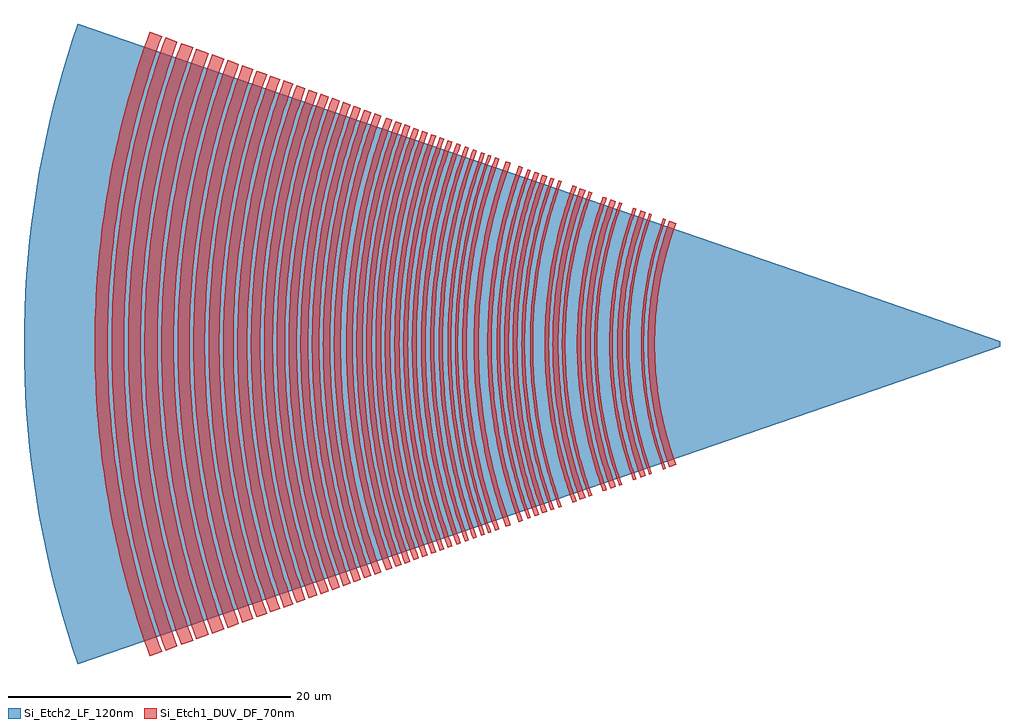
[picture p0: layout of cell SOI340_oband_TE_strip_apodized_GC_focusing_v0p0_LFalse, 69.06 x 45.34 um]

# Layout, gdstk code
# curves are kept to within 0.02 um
import gdstk
lib = gdstk.Library(unit=1e-6, precision=1e-09)
def P(c, l, *ps):  # polygons
    for p in ps: c.add(gdstk.Polygon(p, *l))
Si_Etch2_LF_120nm = (3, 0)
Si_Etch1_DUV_DF_70nm = (6, 0)

soi340_oband_te_strip_ap = lib.new_cell('SOI340_oband_TE_strip_apodized_GC_focusing_v0p0_LFalse')
P(soi340_oband_te_strip_ap, Si_Etch2_LF_120nm, [(-65.264,-22.672),(-66.015,-20.36),(-66.685,-18.024),(-66.989,-16.847),(-67.273,-15.665),(-67.779,-13.288),(-68.201,-10.894),(-68.539,-8.487),(-68.793,-6.069),(-68.963,-3.645),(-69.016,-2.43),(-69.058,0),(-69.016,2.43),(-68.963,3.645),(-68.793,6.069),(-68.539,8.487),(-68.201,10.894),(-67.779,13.288),(-67.273,15.665),(-66.989,16.847),(-66.36,19.195),(-65.65,21.52),(-65.264,22.672),(0,0.2),(0,-0.2)])
P(soi340_oband_te_strip_ap, Si_Etch1_DUV_DF_70nm, [(-23.389,-8.723),(-23.746,-7.672),(-24.058,-6.602),(-24.322,-5.522),(-24.539,-4.429),(-24.709,-3.329),(-24.83,-2.223),(-24.903,-1.112),(-24.927,0),(-24.903,1.112),(-24.83,2.223),(-24.709,3.329),(-24.539,4.429),(-24.322,5.522),(-24.058,6.602),(-23.746,7.672),(-23.389,8.723),(-22.911,8.551),(-23.262,7.518),(-23.567,6.47),(-23.826,5.411),(-24.039,4.341),(-24.205,3.263),(-24.324,2.179),(-24.395,1.09),(-24.419,0),(-24.395,-1.09),(-24.324,-2.179),(-24.205,-3.263),(-24.039,-4.341),(-23.826,-5.411),(-23.567,-6.47),(-23.262,-7.518),(-22.911,-8.551)],
  [(-23.831,-8.884),(-24.196,-7.812),(-24.513,-6.724),(-24.782,-5.624),(-25.003,-4.511),(-25.205,-3.166),(-25.299,-2.265),(-25.373,-1.132),(-25.398,0),(-25.373,1.132),(-25.299,2.265),(-25.205,3.166),(-25.003,4.511),(-24.782,5.624),(-24.513,6.724),(-24.196,7.812),(-23.831,8.884),(-23.643,8.817),(-24.072,7.537),(-24.377,6.455),(-24.635,5.36),(-24.881,4.033),(-25.119,2.023),(-25.198,0),(-25.119,-2.023),(-24.881,-4.033),(-24.635,-5.36),(-24.377,-6.455),(-24.072,-7.537),(-23.643,-8.817)],
  [(-24.814,-9.242),(-25.193,-8.126),(-25.523,-6.995),(-25.803,-5.85),(-26.033,-4.693),(-26.213,-3.527),(-26.341,-2.355),(-26.418,-1.179),(-26.444,0),(-26.418,1.179),(-26.341,2.355),(-26.213,3.527),(-26.033,4.693),(-25.803,5.85),(-25.523,6.995),(-25.193,8.126),(-24.814,9.242),(-24.626,9.175),(-25.072,7.843),(-25.39,6.716),(-25.658,5.577),(-25.914,4.196),(-26.072,3.037),(-26.161,2.105),(-26.228,0.936),(-26.244,0),(-26.228,-0.936),(-26.161,-2.105),(-26.072,-3.037),(-25.914,-4.196),(-25.658,-5.577),(-25.39,-6.716),(-25.072,-7.843),(-24.626,-9.175)],
  [(-25.418,-9.46),(-25.806,-8.319),(-26.144,-7.161),(-26.43,-5.988),(-26.666,-4.805),(-26.85,-3.611),(-27.001,-2.171),(-27.06,-1.206),(-27.086,0),(-27.06,1.206),(-27.001,2.171),(-26.85,3.611),(-26.666,4.805),(-26.43,5.988),(-26.144,7.161),(-25.806,8.319),(-25.418,9.46),(-25.051,9.329),(-25.434,8.202),(-25.767,7.06),(-26.049,5.904),(-26.282,4.737),(-26.463,3.56),(-26.592,2.377),(-26.67,1.19),(-26.696,0),(-26.67,-1.19),(-26.592,-2.377),(-26.463,-3.56),(-26.282,-4.737),(-26.049,-5.904),(-25.767,-7.06),(-25.434,-8.202),(-25.051,-9.329)],
  [(-25.945,-9.654),(-26.414,-8.254),(-26.685,-7.305),(-26.978,-6.109),(-27.218,-4.902),(-27.406,-3.684),(-27.539,-2.461),(-27.62,-1.231),(-27.647,0),(-27.62,1.231),(-27.539,2.461),(-27.406,3.684),(-27.218,4.902),(-26.978,6.109),(-26.685,7.305),(-26.414,8.254),(-25.945,9.654),(-25.725,9.575),(-26.19,8.185),(-26.521,7.009),(-26.851,5.581),(-27.106,4.138),(-27.327,2.196),(-27.396,0.977),(-27.413,0),(-27.396,-0.977),(-27.327,-2.196),(-27.106,-4.138),(-26.851,-5.581),(-26.521,-7.009),(-26.19,-8.185),(-25.725,-9.575)],
  [(-26.939,-10.014),(-27.425,-8.563),(-27.706,-7.579),(-28.01,-6.338),(-28.259,-5.085),(-28.453,-3.823),(-28.592,-2.552),(-28.676,-1.277),(-28.704,0),(-28.676,1.277),(-28.592,2.552),(-28.453,3.823),(-28.259,5.085),(-28.01,6.338),(-27.706,7.579),(-27.425,8.563),(-26.939,10.014),(-26.738,9.943),(-27.221,8.5),(-27.565,7.279),(-27.907,5.796),(-28.172,4.297),(-28.332,3.039),(-28.42,2.028),(-28.491,0),(-28.42,-2.028),(-28.332,-3.039),(-28.172,-4.297),(-27.907,-5.796),(-27.565,-7.279),(-27.221,-8.5),(-26.738,-9.943)],
  [(-27.558,-10.24),(-27.977,-9.005),(-28.342,-7.749),(-28.653,-6.481),(-28.908,-5.2),(-29.107,-3.909),(-29.249,-2.609),(-29.335,-1.305),(-29.363,0),(-29.335,1.305),(-29.249,2.609),(-29.107,3.909),(-28.908,5.2),(-28.653,6.481),(-28.342,7.749),(-27.977,9.005),(-27.558,10.24),(-27.177,10.103),(-27.591,8.883),(-27.951,7.645),(-28.258,6.393),(-28.509,5.129),(-28.705,3.856),(-28.846,2.574),(-28.93,1.288),(-28.958,0),(-28.93,-1.288),(-28.846,-2.574),(-28.705,-3.856),(-28.509,-5.129),(-28.258,-6.393),(-27.951,-7.645),(-27.591,-8.883),(-27.177,-10.103)],
  [(-28.095,-10.436),(-28.523,-9.177),(-28.895,-7.898),(-29.212,-6.605),(-29.471,-5.3),(-29.674,-3.983),(-29.819,-2.659),(-29.906,-1.331),(-29.935,0),(-29.906,1.331),(-29.819,2.659),(-29.674,3.983),(-29.471,5.3),(-29.212,6.605),(-28.895,7.898),(-28.523,9.177),(-28.095,10.436),(-27.812,10.334),(-28.236,9.086),(-28.672,7.565),(-29.027,6.024),(-29.302,4.466),(-29.541,2.371),(-29.616,1.054),(-29.634,0),(-29.616,-1.054),(-29.541,-2.371),(-29.302,-4.466),(-29.027,-6.024),(-28.672,-7.565),(-28.236,-9.086),(-27.812,-10.334)],
  [(-29.089,-10.799),(-29.533,-9.495),(-29.918,-8.172),(-30.245,-6.833),(-30.514,-5.483),(-30.724,-4.122),(-30.874,-2.752),(-30.964,-1.378),(-30.994,0),(-30.964,1.378),(-30.874,2.752),(-30.724,4.122),(-30.514,5.483),(-30.245,6.833),(-29.918,8.172),(-29.533,9.495),(-29.089,10.799),(-28.861,10.716),(-29.301,9.422),(-29.753,7.845),(-30.122,6.247),(-30.407,4.631),(-30.55,3.547),(-30.675,2.186),(-30.751,0),(-30.675,-2.186),(-30.55,-3.547),(-30.407,-4.631),(-30.122,-6.247),(-29.753,-7.845),(-29.301,-9.422),(-28.861,-10.716)],
  [(-29.72,-11.027),(-30.172,-9.696),(-30.566,-8.345),(-30.9,-6.98),(-31.175,-5.599),(-31.388,-4.209),(-31.541,-2.811),(-31.634,-1.407),(-31.664,0),(-31.634,1.407),(-31.541,2.811),(-31.388,4.209),(-31.175,5.599),(-30.9,6.98),(-30.566,8.345),(-30.172,9.696),(-29.72,11.027),(-29.325,10.885),(-29.771,9.57),(-30.16,8.237),(-30.49,6.888),(-30.761,5.526),(-30.972,4.154),(-31.123,2.774),(-31.214,1.388),(-31.244,0),(-31.214,-1.388),(-31.123,-2.774),(-30.972,-4.154),(-30.761,-5.526),(-30.49,-6.888),(-30.16,-8.237),(-29.771,-9.57),(-29.325,-10.885)],
  [(-30.243,-11.218),(-30.703,-9.863),(-31.104,-8.49),(-31.444,-7.1),(-31.722,-5.696),(-31.94,-4.281),(-32.096,-2.859),(-32.19,-1.431),(-32.221,0),(-32.19,1.431),(-32.096,2.859),(-31.94,4.281),(-31.722,5.696),(-31.444,7.1),(-31.104,8.49),(-30.703,9.863),(-30.243,11.218),(-29.954,11.114),(-30.494,9.501),(-30.949,7.861),(-31.262,6.478),(-31.557,4.803),(-31.814,2.55),(-31.883,1.417),(-31.914,0),(-31.883,-1.417),(-31.814,-2.55),(-31.557,-4.803),(-31.262,-6.478),(-30.949,-7.861),(-30.494,-9.501),(-29.954,-11.114)],
  [(-31.214,-11.572),(-31.689,-10.175),(-32.102,-8.757),(-32.453,-7.323),(-32.741,-5.876),(-32.965,-4.417),(-33.126,-2.948),(-33.223,-1.476),(-33.255,0),(-33.223,1.476),(-33.126,2.948),(-32.965,4.417),(-32.741,5.876),(-32.453,7.323),(-32.102,8.757),(-31.689,10.175),(-31.214,11.572),(-31.014,11.5),(-31.486,10.111),(-31.971,8.419),(-32.367,6.703),(-32.628,5.26),(-32.826,3.806),(-32.938,2.638),(-33.022,1.173),(-33.042,0),(-33.022,-1.173),(-32.938,-2.638),(-32.826,-3.806),(-32.628,-5.26),(-32.367,-6.703),(-31.971,-8.419),(-31.486,-10.111),(-31.014,-11.5)],
  [(-31.781,-11.778),(-32.263,-10.356),(-32.684,-8.914),(-33.105,-7.161),(-33.333,-5.98),(-33.562,-4.495),(-33.726,-3.001),(-33.824,-1.503),(-33.857,0),(-33.824,1.503),(-33.726,3.001),(-33.562,4.495),(-33.333,5.98),(-33.105,7.161),(-32.684,8.914),(-32.263,10.356),(-31.781,11.778),(-31.553,11.696),(-32.121,9.998),(-32.526,8.562),(-32.929,6.818),(-33.194,5.349),(-33.36,4.167),(-33.51,2.683),(-33.594,1.193),(-33.615,0),(-33.594,-1.193),(-33.51,-2.683),(-33.36,-4.167),(-33.194,-5.349),(-32.929,-6.818),(-32.526,-8.562),(-32.121,-9.998),(-31.553,-11.696)],
  [(-32.376,-11.993),(-32.867,-10.546),(-33.295,-9.077),(-33.659,-7.591),(-33.957,-6.09),(-34.19,-4.578),(-34.357,-3.056),(-34.457,-1.53),(-34.49,0),(-34.457,1.53),(-34.357,3.056),(-34.19,4.578),(-33.957,6.09),(-33.659,7.591),(-33.295,9.077),(-32.867,10.546),(-32.376,11.993),(-32.05,11.877),(-32.627,10.153),(-33.113,8.401),(-33.447,6.923),(-33.763,5.133),(-33.921,3.931),(-34.037,2.724),(-34.123,1.212),(-34.144,0),(-34.123,-1.212),(-34.037,-2.724),(-33.921,-3.931),(-33.763,-5.133),(-33.447,-6.923),(-33.113,-8.401),(-32.627,-10.153),(-32.05,-11.877)],
  [(-32.932,-12.197),(-33.433,-10.725),(-33.868,-9.231),(-34.238,-7.719),(-34.541,-6.193),(-34.778,-4.655),(-34.948,-3.108),(-35.049,-1.555),(-35.083,0),(-35.049,1.555),(-34.948,3.108),(-34.778,4.655),(-34.541,6.193),(-34.238,7.719),(-33.868,9.231),(-33.433,10.725),(-32.932,12.197),(-32.617,12.083),(-33.204,10.329),(-33.699,8.547),(-34.039,7.043),(-34.36,5.222),(-34.521,3.999),(-34.662,2.464),(-34.726,1.233),(-34.748,0),(-34.726,-1.233),(-34.662,-2.464),(-34.521,-3.999),(-34.36,-5.222),(-34.039,-7.043),(-33.699,-8.547),(-33.204,-10.329),(-32.617,-12.083)],
  [(-33.428,-12.377),(-33.935,-10.883),(-34.377,-9.367),(-34.752,-7.833),(-35.06,-6.285),(-35.3,-4.724),(-35.472,-3.155),(-35.576,-1.578),(-35.61,0),(-35.576,1.578),(-35.472,3.155),(-35.3,4.724),(-35.06,6.285),(-34.752,7.833),(-34.377,9.367),(-33.935,10.883),(-33.428,12.377),(-33.206,12.297),(-33.71,10.812),(-34.229,9.002),(-34.652,7.168),(-34.931,5.625),(-35.143,4.07),(-35.263,2.821),(-35.34,1.568),(-35.374,0),(-35.34,-1.568),(-35.263,-2.821),(-35.143,-4.07),(-34.931,-5.625),(-34.652,-7.168),(-34.229,-9.002),(-33.71,-10.812),(-33.206,-12.297)],
  [(-34.053,-12.605),(-34.569,-11.083),(-35.02,-9.539),(-35.402,-7.977),(-35.715,-6.4),(-35.959,-4.811),(-36.135,-3.212),(-36.24,-1.607),(-36.275,0),(-36.24,1.607),(-36.135,3.212),(-35.959,4.811),(-35.715,6.4),(-35.402,7.977),(-35.02,9.539),(-34.569,11.083),(-34.053,12.605),(-33.765,12.501),(-34.372,10.686),(-34.805,9.151),(-35.235,7.287),(-35.568,5.402),(-35.769,3.821),(-35.88,2.55),(-35.947,1.276),(-35.969,0),(-35.947,-1.276),(-35.88,-2.55),(-35.769,-3.821),(-35.568,-5.402),(-35.235,-7.287),(-34.805,-9.151),(-34.372,-10.686),(-33.765,-12.501)],
  [(-34.959,-12.934),(-35.49,-11.374),(-35.951,-9.789),(-36.344,-8.185),(-36.666,-6.567),(-36.916,-4.937),(-37.096,-3.296),(-37.204,-1.649),(-37.24,0),(-37.204,1.649),(-37.096,3.296),(-36.916,4.937),(-36.666,6.567),(-36.344,8.185),(-35.951,9.789),(-35.49,11.374),(-34.959,12.934),(-34.626,12.814),(-35.152,11.267),(-35.693,9.381),(-36.134,7.47),(-36.474,5.538),(-36.645,4.241),(-36.771,2.94),(-36.863,1.308),(-36.886,0),(-36.863,-1.308),(-36.771,-2.94),(-36.645,-4.241),(-36.474,-5.538),(-36.134,-7.47),(-35.693,-9.381),(-35.152,-11.267),(-34.626,-12.814)],
  [(-35.719,-13.211),(-36.261,-11.616),(-36.733,-9.998),(-37.133,-8.361),(-37.462,-6.708),(-37.718,-5.042),(-37.902,-3.367),(-38.013,-1.685),(-38.049,0),(-38.013,1.685),(-37.902,3.367),(-37.718,5.042),(-37.462,6.708),(-37.133,8.361),(-36.733,9.998),(-36.261,11.616),(-35.719,13.211),(-35.421,13.104),(-35.959,11.521),(-36.512,9.593),(-36.963,7.638),(-37.311,5.663),(-37.486,4.337),(-37.639,2.673),(-37.709,1.337),(-37.732,0),(-37.709,-1.337),(-37.639,-2.673),(-37.486,-4.337),(-37.311,-5.663),(-36.963,-7.638),(-36.512,-9.593),(-35.959,-11.521),(-35.421,-13.104)],
  [(-36.194,-13.385),(-36.743,-11.768),(-37.22,-10.129),(-37.626,-8.47),(-37.96,-6.795),(-38.219,-5.109),(-38.405,-3.411),(-38.517,-1.707),(-38.554,0),(-38.517,1.707),(-38.405,3.411),(-38.219,5.109),(-37.96,6.795),(-37.626,8.47),(-37.22,10.129),(-36.743,11.768),(-36.194,13.385),(-36.003,13.316),(-36.65,11.383),(-37.111,9.748),(-37.5,8.094),(-37.872,6.09),(-38.101,4.407),(-38.231,3.055),(-38.314,1.698),(-38.351,0),(-38.314,-1.698),(-38.231,-3.055),(-38.101,-4.407),(-37.872,-6.09),(-37.5,-8.094),(-37.111,-9.748),(-36.65,-11.383),(-36.003,-13.316)],
  [(-36.691,-13.564),(-37.247,-11.927),(-37.731,-10.266),(-38.143,-8.585),(-38.48,-6.887),(-38.744,-5.178),(-38.932,-3.456),(-39.045,-1.73),(-39.083,0),(-39.045,1.73),(-38.932,3.456),(-38.744,5.178),(-38.48,6.887),(-38.143,8.585),(-37.731,10.266),(-37.247,11.927),(-36.691,13.564),(-36.456,13.48),(-37.111,11.524),(-37.578,9.868),(-37.972,8.195),(-38.348,6.166),(-38.58,4.462),(-38.711,3.092),(-38.809,1.376),(-38.833,0),(-38.809,-1.376),(-38.711,-3.092),(-38.58,-4.462),(-38.348,-6.166),(-37.972,-8.195),(-37.578,-9.868),(-37.111,-11.524),(-36.456,-13.48)],
  [(-37.279,-13.779),(-37.844,-12.116),(-38.336,-10.428),(-38.754,-8.72),(-39.097,-6.996),(-39.365,-5.259),(-39.556,-3.512),(-39.671,-1.758),(-39.709,0),(-39.671,1.758),(-39.556,3.512),(-39.365,5.259),(-39.097,6.996),(-38.754,8.72),(-38.336,10.428),(-37.844,12.116),(-37.279,13.779),(-37.014,13.684),(-37.679,11.697),(-38.239,9.679),(-38.624,7.976),(-38.988,5.914),(-39.17,4.529),(-39.33,2.791),(-39.403,1.396),(-39.427,0),(-39.403,-1.396),(-39.33,-2.791),(-39.208,-4.182),(-38.988,-5.914),(-38.624,-7.976),(-38.239,-9.679),(-37.679,-11.697),(-37.014,-13.684)],
  [(-37.85,-13.987),(-38.423,-12.298),(-38.922,-10.585),(-39.346,-8.852),(-39.695,-7.101),(-39.967,-5.338),(-40.16,-3.565),(-40.277,-1.783),(-40.316,0),(-40.277,1.783),(-40.16,3.565),(-39.967,5.338),(-39.695,7.101),(-39.346,8.852),(-38.922,10.585),(-38.423,12.298),(-37.85,13.987),(-37.582,13.89),(-38.256,11.874),(-38.737,10.168),(-39.144,8.444),(-39.531,6.353),(-39.77,4.597),(-39.906,3.186),(-40.006,1.417),(-40.031,0),(-40.006,-1.417),(-39.906,-3.186),(-39.77,-4.597),(-39.531,-6.353),(-39.144,-8.444),(-38.737,-10.168),(-38.256,-11.874),(-37.582,-13.89)],
  [(-38.455,-14.207),(-39.037,-12.492),(-39.544,-10.751),(-39.975,-8.99),(-40.329,-7.214),(-40.604,-5.422),(-40.802,-3.62),(-40.921,-1.812),(-40.96,0),(-40.921,1.812),(-40.802,3.62),(-40.604,5.422),(-40.329,7.214),(-39.975,8.99),(-39.544,10.751),(-39.037,12.492),(-38.455,14.207),(-38.152,14.098),(-38.837,12.051),(-39.325,10.32),(-39.811,8.218),(-40.131,6.448),(-40.331,5.023),(-40.511,3.234),(-40.599,1.798),(-40.638,0),(-40.599,-1.798),(-40.511,-3.234),(-40.331,-5.023),(-40.131,-6.448),(-39.811,-8.218),(-39.325,-10.32),(-38.837,-12.051),(-38.152,-14.098)],
  [(-39.064,-14.429),(-39.655,-12.686),(-40.171,-10.92),(-40.608,-9.132),(-40.967,-7.326),(-41.247,-5.507),(-41.448,-3.678),(-41.568,-1.84),(-41.608,0),(-41.568,1.84),(-41.448,3.678),(-41.247,5.507),(-40.967,7.326),(-40.608,9.132),(-40.171,10.92),(-39.655,12.686),(-39.064,14.429),(-38.756,14.318),(-39.452,12.239),(-39.948,10.481),(-40.441,8.346),(-40.766,6.549),(-41.012,4.739),(-41.152,3.284),(-41.241,1.826),(-41.281,0),(-41.241,-1.826),(-41.152,-3.284),(-41.012,-4.739),(-40.766,-6.549),(-40.441,-8.346),(-39.948,-10.481),(-39.452,-12.239),(-38.756,-14.318)],
  [(-39.635,-14.636),(-40.234,-12.869),(-40.757,-11.076),(-41.2,-9.263),(-41.565,-7.432),(-41.849,-5.585),(-42.052,-3.731),(-42.175,-1.867),(-42.215,0),(-42.175,1.867),(-42.052,3.731),(-41.849,5.585),(-41.565,7.432),(-41.2,9.263),(-40.757,11.076),(-40.234,12.869),(-39.635,14.636),(-39.328,14.526),(-40.033,12.417),(-40.536,10.634),(-41.036,8.467),(-41.423,6.277),(-41.616,4.808),(-41.786,2.963),(-41.863,1.482),(-41.889,0),(-41.863,-1.482),(-41.786,-2.963),(-41.616,-4.808),(-41.423,-6.277),(-41.036,-8.467),(-40.536,-10.634),(-40.033,-12.417),(-39.328,-14.526)],
  [(-40.231,-14.852),(-40.839,-13.06),(-41.369,-11.241),(-41.819,-9.4),(-42.19,-7.541),(-42.478,-5.669),(-42.684,-3.785),(-42.808,-1.895),(-42.849,0),(-42.808,1.895),(-42.684,3.785),(-42.478,5.669),(-42.19,7.541),(-41.819,9.4),(-41.369,11.241),(-40.839,13.06),(-40.231,14.852),(-39.893,14.731),(-40.608,12.593),(-41.211,10.42),(-41.699,8.218),(-42.017,6.366),(-42.254,4.502),(-42.385,3.004),(-42.464,1.503),(-42.49,0),(-42.464,-1.503),(-42.385,-3.004),(-42.254,-4.502),(-42.017,-6.366),(-41.699,-8.218),(-41.211,-10.42),(-40.608,-12.593),(-39.893,-14.731)],
  [(-40.864,-15.083),(-41.482,-13.263),(-42.02,-11.415),(-42.478,-9.545),(-42.853,-7.659),(-43.146,-5.757),(-43.356,-3.844),(-43.481,-1.924),(-43.523,0),(-43.481,1.924),(-43.356,3.844),(-43.146,5.757),(-42.853,7.659),(-42.478,9.545),(-42.02,11.415),(-41.482,13.263),(-40.864,15.083),(-40.497,14.951),(-41.223,12.781),(-41.835,10.575),(-42.33,8.341),(-42.653,6.461),(-42.894,4.569),(-43.027,3.049),(-43.106,1.526),(-43.133,0),(-43.106,-1.526),(-43.027,-3.049),(-42.894,-4.569),(-42.653,-6.461),(-42.33,-8.341),(-41.835,-10.575),(-41.223,-12.781),(-40.497,-14.951)],
  [(-41.487,-15.31),(-42.116,-13.461),(-42.661,-11.587),(-43.126,-9.689),(-43.507,-7.774),(-43.804,-5.843),(-44.016,-3.902),(-44.145,-1.953),(-44.187,0),(-44.145,1.953),(-44.016,3.902),(-43.804,5.843),(-43.507,7.774),(-43.126,9.689),(-42.661,11.587),(-42.116,13.461),(-41.487,15.31),(-41.11,15.174),(-41.733,13.341),(-42.373,11.109),(-42.895,8.845),(-43.299,6.558),(-43.501,5.022),(-43.678,3.095),(-43.759,1.548),(-43.786,0),(-43.759,-1.548),(-43.678,-3.095),(-43.501,-5.022),(-43.299,-6.558),(-42.895,-8.845),(-42.373,-11.109),(-41.733,-13.341),(-41.11,-15.174)],
  [(-42.109,-15.536),(-42.745,-13.661),(-43.3,-11.758),(-43.771,-9.833),(-44.158,-7.889),(-44.46,-5.929),(-44.675,-3.96),(-44.805,-1.982),(-44.848,0),(-44.805,1.982),(-44.675,3.96),(-44.46,5.929),(-44.158,7.889),(-43.771,9.833),(-43.3,11.758),(-42.745,13.661),(-42.109,15.536),(-41.722,15.397),(-42.47,13.162),(-43.1,10.891),(-43.61,8.59),(-43.943,6.654),(-44.148,5.096),(-44.298,3.532),(-44.41,1.571),(-44.437,0),(-44.41,-1.571),(-44.298,-3.532),(-44.148,-5.096),(-43.943,-6.654),(-43.61,-8.59),(-43.1,-10.891),(-42.47,-13.162),(-41.722,-15.397)],
  [(-42.76,-15.773),(-43.406,-13.869),(-43.969,-11.937),(-44.447,-9.983),(-44.84,-8.009),(-45.146,-6.02),(-45.365,-4.019),(-45.498,-2.012),(-45.541,0),(-45.498,2.012),(-45.365,4.019),(-45.146,6.02),(-44.84,8.009),(-44.447,9.983),(-43.969,11.937),(-43.406,13.869),(-42.76,15.773),(-42.344,15.623),(-42.985,13.736),(-43.644,11.437),(-44.182,9.107),(-44.597,6.752),(-44.849,4.775),(-44.988,3.186),(-45.071,1.594),(-45.099,0),(-45.071,-1.594),(-44.988,-3.186),(-44.849,-4.775),(-44.597,-6.752),(-44.182,-9.107),(-43.644,-11.437),(-42.985,-13.736),(-42.344,-15.623)],
  [(-43.443,-16.02),(-44.099,-14.087),(-44.671,-12.125),(-45.157,-10.139),(-45.555,-8.135),(-45.866,-6.114),(-46.088,-4.084),(-46.223,-2.044),(-46.267,0),(-46.223,2.044),(-46.088,4.084),(-45.866,6.114),(-45.555,8.135),(-45.157,10.139),(-44.671,12.125),(-44.099,14.087),(-43.443,16.02),(-43.006,15.864),(-43.656,13.948),(-44.326,11.614),(-44.872,9.247),(-45.294,6.856),(-45.505,5.251),(-45.69,3.236),(-45.775,1.619),(-45.803,0),(-45.775,-1.619),(-45.69,-3.236),(-45.505,-5.251),(-45.294,-6.856),(-44.872,-9.247),(-44.326,-11.614),(-43.656,-13.948),(-43.006,-15.864)],
  [(-44.25,-16.316),(-44.919,-14.346),(-45.501,-12.347),(-45.996,-10.326),(-46.403,-8.284),(-46.719,-6.227),(-46.945,-4.157),(-47.082,-2.081),(-47.127,0),(-47.082,2.081),(-46.945,4.157),(-46.719,6.227),(-46.403,8.284),(-45.996,10.326),(-45.501,12.347),(-44.919,14.346),(-44.25,16.316),(-43.79,16.15),(-44.453,14.199),(-45.134,11.823),(-45.69,9.414),(-46.119,6.979),(-46.379,4.936),(-46.523,3.294),(-46.609,1.648),(-46.638,0),(-46.609,-1.648),(-46.523,-3.294),(-46.379,-4.936),(-46.119,-6.979),(-45.69,-9.414),(-45.134,-11.823),(-44.453,-14.199),(-43.79,-16.15)],
  [(-44.979,-16.58),(-45.658,-14.58),(-46.25,-12.548),(-46.753,-10.494),(-47.165,-8.418),(-47.488,-6.328),(-47.717,-4.225),(-47.856,-2.116),(-47.902,0),(-47.856,2.116),(-47.717,4.225),(-47.488,6.328),(-47.165,8.418),(-46.753,10.494),(-46.25,12.548),(-45.658,14.58),(-44.979,16.58),(-44.499,16.408),(-45.172,14.426),(-45.757,12.416),(-46.255,10.383),(-46.663,8.33),(-46.982,6.262),(-47.209,4.181),(-47.346,2.093),(-47.392,0),(-47.346,-2.093),(-47.209,-4.181),(-46.982,-6.262),(-46.663,-8.33),(-46.255,-10.383),(-45.757,-12.416),(-45.172,-14.426),(-44.499,-16.408)],
  [(-45.716,-16.847),(-46.406,-14.815),(-47.007,-12.752),(-47.519,-10.663),(-47.938,-8.556),(-48.264,-6.431),(-48.499,-4.294),(-48.64,-2.149),(-48.686,0),(-48.64,2.149),(-48.499,4.294),(-48.264,6.431),(-47.938,8.556),(-47.519,10.663),(-47.007,12.752),(-46.406,14.815),(-45.716,16.847),(-45.22,16.67),(-45.903,14.656),(-46.498,12.615),(-47.004,10.549),(-47.419,8.464),(-47.742,6.362),(-47.974,4.248),(-48.113,2.126),(-48.159,0),(-48.113,-2.126),(-47.974,-4.248),(-47.742,-6.362),(-47.419,-8.464),(-47.004,-10.549),(-46.498,-12.615),(-45.903,-14.656),(-45.22,-16.67)],
  [(-46.476,-17.125),(-47.178,-15.059),(-47.79,-12.961),(-48.309,-10.839),(-48.736,-8.695),(-49.067,-6.537),(-49.306,-4.364),(-49.448,-2.184),(-49.496,0),(-49.448,2.184),(-49.306,4.364),(-49.067,6.537),(-48.736,8.695),(-48.309,10.839),(-47.79,12.961),(-47.178,15.059),(-46.476,17.125),(-45.954,16.938),(-46.649,14.892),(-47.254,12.817),(-47.767,10.719),(-48.189,8.599),(-48.517,6.464),(-48.753,4.316),(-48.894,2.16),(-48.941,0),(-48.894,-2.16),(-48.753,-4.316),(-48.517,-6.464),(-48.189,-8.599),(-47.767,-10.719),(-47.254,-12.817),(-46.649,-14.892),(-45.954,-16.938)],
  [(-47.261,-17.41),(-47.973,-15.309),(-48.595,-13.177),(-49.123,-11.019),(-49.556,-8.841),(-49.894,-6.646),(-50.136,-4.438),(-50.281,-2.22),(-50.33,0),(-50.281,2.22),(-50.136,4.438),(-49.894,6.646),(-49.556,8.841),(-49.123,11.019),(-48.595,13.177),(-47.973,15.309),(-47.261,17.41),(-46.717,17.215),(-47.422,15.135),(-48.037,13.027),(-48.559,10.894),(-48.987,8.74),(-49.321,6.57),(-49.56,4.387),(-49.704,2.195),(-49.752,0),(-49.704,-2.195),(-49.56,-4.387),(-49.321,-6.57),(-48.987,-8.74),(-48.559,-10.894),(-48.037,-13.027),(-47.422,-15.135),(-46.717,-17.215)],
  [(-48.066,-17.703),(-48.791,-15.567),(-49.423,-13.398),(-49.96,-11.205),(-50.401,-8.989),(-50.744,-6.758),(-50.99,-4.512),(-51.137,-2.258),(-51.187,0),(-51.137,2.258),(-50.99,4.512),(-50.744,6.758),(-50.401,8.989),(-49.96,11.205),(-49.423,13.398),(-48.791,15.567),(-48.066,17.703),(-47.501,17.5),(-48.219,15.387),(-48.843,13.243),(-49.374,11.075),(-49.81,8.885),(-50.149,6.679),(-50.392,4.46),(-50.538,2.232),(-50.587,0),(-50.538,-2.232),(-50.392,-4.46),(-50.149,-6.679),(-49.81,-8.885),(-49.374,-11.075),(-48.843,-13.243),(-48.219,-15.387),(-47.501,-17.5)],
  [(-48.901,-18.007),(-49.638,-15.834),(-50.28,-13.629),(-50.827,-11.397),(-51.275,-9.144),(-51.625,-6.872),(-51.875,-4.59),(-52.024,-2.296),(-52.075,0),(-52.024,2.296),(-51.875,4.59),(-51.625,6.872),(-51.275,9.144),(-50.827,11.397),(-50.28,13.629),(-49.638,15.834),(-48.901,18.007),(-48.305,17.793),(-49.034,15.644),(-49.669,13.465),(-50.209,11.26),(-50.652,9.034),(-50.997,6.79),(-51.244,4.534),(-51.392,2.269),(-51.442,0),(-51.392,-2.269),(-51.244,-4.534),(-50.997,-6.79),(-50.652,-9.034),(-50.209,-11.26),(-49.669,-13.465),(-49.034,-15.644),(-48.305,-17.793)],
  [(-49.769,-18.323),(-50.519,-16.113),(-51.173,-13.867),(-51.729,-11.597),(-52.185,-9.303),(-52.54,-6.994),(-52.795,-4.67),(-52.948,-2.338),(-52.999,0),(-52.948,2.338),(-52.795,4.67),(-52.54,6.994),(-52.185,9.303),(-51.729,11.597),(-51.173,13.867),(-50.519,16.113),(-49.769,18.323),(-49.142,18.098),(-49.884,15.912),(-50.53,13.695),(-51.079,11.453),(-51.529,9.188),(-51.88,6.907),(-52.132,4.612),(-52.283,2.308),(-52.333,0),(-52.283,-2.308),(-52.132,-4.612),(-51.88,-6.907),(-51.529,-9.188),(-51.079,-11.453),(-50.53,-13.695),(-49.884,-15.912),(-49.142,-18.098)],
  [(-50.677,-18.653),(-51.441,-16.402),(-52.106,-14.118),(-52.672,-11.806),(-53.136,-9.473),(-53.498,-7.12),(-53.757,-4.754),(-53.913,-2.38),(-53.965,0),(-53.913,2.38),(-53.757,4.754),(-53.498,7.12),(-53.136,9.473),(-52.672,11.806),(-52.106,14.118),(-51.441,16.402),(-50.677,18.653),(-50.015,18.415),(-50.77,16.191),(-51.427,13.936),(-51.986,11.654),(-52.444,9.35),(-52.801,7.028),(-53.057,4.693),(-53.211,2.349),(-53.262,0),(-53.211,-2.349),(-53.057,-4.693),(-52.801,-7.028),(-52.444,-9.35),(-51.986,-11.654),(-51.427,-13.936),(-50.77,-16.191),(-50.015,-18.415)],
  [(-51.619,-18.996),(-52.397,-16.704),(-53.075,-14.378),(-53.652,-12.023),(-54.124,-9.646),(-54.493,-7.25),(-54.756,-4.841),(-54.915,-2.423),(-54.968,0),(-54.915,2.423),(-54.756,4.841),(-54.493,7.25),(-54.124,9.646),(-53.652,12.023),(-53.075,14.378),(-52.397,16.704),(-51.619,18.996),(-50.927,18.747),(-51.696,16.483),(-52.365,14.187),(-52.934,11.864),(-53.4,9.518),(-53.764,7.155),(-54.024,4.777),(-54.181,2.391),(-54.233,0),(-54.181,-2.391),(-54.024,-4.777),(-53.764,-7.155),(-53.4,-9.518),(-52.934,-11.864),(-52.365,-14.187),(-51.696,-16.483),(-50.927,-18.747)],
  [(-52.586,-19.348),(-53.378,-17.014),(-54.069,-14.643),(-54.656,-12.245),(-55.137,-9.825),(-55.513,-7.385),(-55.782,-4.931),(-55.943,-2.467),(-55.997,0),(-55.943,2.467),(-55.782,4.931),(-55.513,7.385),(-55.137,9.825),(-54.656,12.245),(-54.069,14.643),(-53.378,17.014),(-52.586,19.348),(-51.864,19.088),(-52.647,16.783),(-53.328,14.445),(-53.907,12.08),(-54.382,9.691),(-54.753,7.285),(-55.018,4.864),(-55.177,2.434),(-55.23,0),(-55.177,-2.434),(-55.018,-4.864),(-54.753,-7.285),(-54.382,-9.691),(-53.907,-12.08),(-53.328,-14.445),(-52.647,-16.783),(-51.864,-19.088)],
  [(-53.599,-19.717),(-54.406,-17.337),(-55.11,-14.922),(-55.709,-12.479),(-56.199,-10.012),(-56.582,-7.525),(-56.856,-5.026),(-57.02,-2.514),(-57.075,0),(-57.02,2.514),(-56.856,5.026),(-56.582,7.525),(-56.199,10.012),(-55.709,12.479),(-55.11,14.922),(-54.406,17.337),(-53.599,19.717),(-52.83,19.44),(-53.627,17.092),(-54.321,14.711),(-54.911,12.302),(-55.394,9.87),(-55.772,7.419),(-56.042,4.954),(-56.204,2.479),(-56.258,0),(-56.204,-2.479),(-56.042,-4.954),(-55.772,-7.419),(-55.394,-9.87),(-54.911,-12.302),(-54.321,-14.711),(-53.627,-17.092),(-52.83,-19.44)],
  [(-54.644,-20.096),(-55.467,-17.672),(-56.184,-15.211),(-56.794,-12.72),(-57.294,-10.205),(-57.684,-7.671),(-57.964,-5.121),(-58.131,-2.564),(-58.187,0),(-58.131,2.564),(-57.964,5.121),(-57.684,7.671),(-57.294,10.205),(-56.794,12.72),(-56.184,15.211),(-55.467,17.672),(-54.644,20.096),(-53.85,19.811),(-54.662,17.418),(-55.369,14.992),(-55.97,12.537),(-56.463,10.058),(-56.847,7.561),(-57.123,5.048),(-57.288,2.527),(-57.343,0),(-57.288,-2.527),(-57.123,-5.048),(-56.847,-7.561),(-56.463,-10.058),(-55.97,-12.537),(-55.369,-14.992),(-54.662,-17.418),(-53.85,-19.811)],
  [(-55.73,-20.492),(-56.568,-18.019),(-57.3,-15.508),(-57.922,-12.969),(-58.432,-10.406),(-58.829,-7.822),(-59.114,-5.223),(-59.285,-2.614),(-59.342,0),(-59.285,2.614),(-59.114,5.223),(-58.829,7.822),(-58.432,10.406),(-57.922,12.969),(-57.3,15.508),(-56.568,18.019),(-55.73,20.492),(-54.898,20.193),(-55.725,17.753),(-56.446,15.28),(-57.059,12.778),(-57.561,10.252),(-57.953,7.706),(-58.233,5.146),(-58.402,2.575),(-58.458,0),(-58.402,-2.575),(-58.233,-5.146),(-57.953,-7.706),(-57.561,-10.252),(-57.059,-12.778),(-56.446,-15.28),(-55.725,-17.753),(-54.898,-20.193)],
  [(-56.856,-20.9),(-57.711,-18.379),(-58.457,-15.819),(-59.091,-13.23),(-59.612,-10.614),(-60.017,-7.978),(-60.308,-5.327),(-60.482,-2.666),(-60.54,0),(-60.482,2.666),(-60.308,5.327),(-60.017,7.978),(-59.612,10.614),(-59.091,13.23),(-58.457,15.819),(-57.711,18.379),(-56.856,20.9),(-55.981,20.587),(-56.825,18.1),(-57.56,15.579),(-58.184,13.028),(-58.697,10.452),(-59.096,7.857),(-59.382,5.246),(-59.554,2.626),(-59.611,0),(-59.554,-2.626),(-59.382,-5.246),(-59.096,-7.857),(-58.697,-10.452),(-58.184,-13.028),(-57.56,-15.579),(-56.825,-18.1),(-55.981,-20.587)],
  [(-57.942,-21.297),(-58.814,-18.727),(-59.575,-16.118),(-60.221,-13.48),(-60.751,-10.814),(-61.164,-8.129),(-61.46,-5.429),(-61.638,-2.716),(-61.697,0),(-61.638,2.716),(-61.46,5.429),(-61.164,8.129),(-60.751,10.814),(-60.221,13.48),(-59.575,16.118),(-58.814,18.727),(-57.942,21.297),(-57.096,20.993),(-57.957,18.457),(-58.707,15.886),(-59.343,13.285),(-59.866,10.658),(-60.273,8.012),(-60.564,5.35),(-60.74,2.677),(-60.798,0),(-60.74,-2.677),(-60.564,-5.35),(-60.273,-8.012),(-59.866,-10.658),(-59.343,-13.285),(-58.707,-15.886),(-57.957,-18.457),(-57.096,-20.993)],
  [(-59.04,-21.697),(-59.93,-19.08),(-60.704,-16.421),(-61.362,-13.733),(-61.902,-11.018),(-62.323,-8.282),(-62.625,-5.53),(-62.805,-2.768),(-62.866,0),(-62.805,2.768),(-62.625,5.53),(-62.323,8.282),(-61.902,11.018),(-61.362,13.733),(-60.704,16.421),(-59.93,19.08),(-59.04,21.697),(-58.202,21.395),(-59.08,18.811),(-59.843,16.191),(-60.492,13.54),(-61.025,10.863),(-61.44,8.165),(-61.737,5.452),(-61.915,2.729),(-61.975,0),(-61.915,-2.729),(-61.737,-5.452),(-61.44,-8.165),(-61.025,-10.863),(-60.492,-13.54),(-59.843,-16.191),(-59.08,-18.811),(-58.202,-21.395)],
  [(-60.162,-22.102),(-61.066,-19.437),(-61.855,-16.73),(-62.526,-13.99),(-63.076,-11.225),(-63.505,-8.437),(-63.812,-5.634),(-63.996,-2.819),(-64.058,0),(-63.996,2.819),(-63.812,5.634),(-63.505,8.437),(-63.076,11.225),(-62.526,13.99),(-61.855,16.73),(-61.066,19.437),(-60.162,22.102),(-59.291,21.791),(-60.184,19.159),(-60.962,16.49),(-61.623,13.79),(-62.165,11.064),(-62.588,8.316),(-62.891,5.553),(-63.072,2.779),(-63.133,0),(-63.072,-2.779),(-62.891,-5.553),(-62.588,-8.316),(-62.165,-11.064),(-61.623,-13.79),(-60.962,-16.49),(-60.184,-19.159),(-59.291,-21.791)])

lib.write_gds('SOI340_oband_TE_strip_apodized_GC_focusing_v0p0_LFalse.gds')
